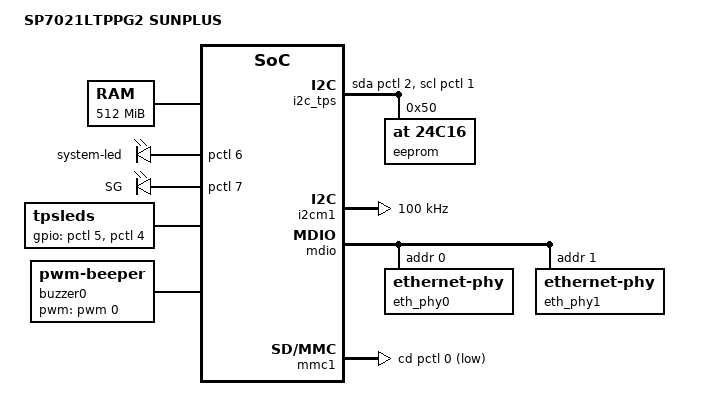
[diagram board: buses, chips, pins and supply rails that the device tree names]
// SPDX-License-Identifier: GPL-2.0
/*
 * Device Tree Source for Tibbo LTPP board G2
 *
 * Copyright (C) 2021 Sunplus Technology Co.
 */

/dts-v1/;

#include "sp7021-common.dtsi"

/ {
	model = "SP7021LTPPG2 SUNPLUS";

	chosen {
		bootargs = "console=ttyS0,115200 root=/dev/ram rw loglevel=8 user_debug=255 earlyprintk";
		stdout-path = "serial0:115200n8";
	};

	memory@0 {
		device_type = "memory";
		reg = <0x00000000 0x20000000>; /* 512MB */
	};

	led {
		compatible = "gpio-leds";
		pinctrl-names = "default", "sleep";
		pinctrl-0 = <&gpio_leds_pins>;
		pinctrl-1 = <&leds_s0_slp>;
		system-led {
			label = "system-led";
			gpios = <&pctl 6 GPIO_ACTIVE_HIGH>;
			default-state = "off";
			linux,default-trigger = "heartbeat";
		};
		led@2 {
			label = "SG";
			gpios = <&pctl 7 GPIO_ACTIVE_HIGH>;
			linux,default-trigger = "mmc0";
			default-state = "off";
		};
	};
	tpsleds: tpsleds {
		compatible = "tpsleds";
		pinctrl-names = "default";
		pinctrl-0 = <&tpsleds_pins>;
		status = "okay";
		init-val = <0x0>;
		gpios = <&pctl 5 GPIO_ACTIVE_HIGH
			  &pctl 4 GPIO_ACTIVE_HIGH
			>;
	};
	buzzer0 {
		compatible = "pwm-beeper";
		pinctrl-names = "default";
		pinctrl-0 = <&buzzer0_pins>;
		pwms = <&pwm 0 1000000 0>;
	};
	i2c_tps: i2c-tps { /* eeprom */
		compatible = "i2c-gpio";
		i2c-gpio,scl-open-drain;
		i2c-gpio,sda-open-drain;
		i2c-gpio,delay-us = <1>;	/* ~100 kHz */
		#address-cells = <1>;
		#size-cells = <0>;
		pinctrl-names = "default";
		pinctrl-0 = <&pins_i2ctps>;
		gpios = <&pctl 2 GPIO_ACTIVE_HIGH     /* SDA */
			  &pctl 1 GPIO_ACTIVE_HIGH     /* SCL */
			>;
		eeprom: eeprom@50 {
			compatible = "at,24c16";
			reg = <0x50>;
			pagesize = <16>;
		};
	};
};

&sp_display {
	ui_width = <1280>;
	ui_height = <720>;
	ui_format = <0x8>;
		/* 0x2 = 8bpp (ARGB)
		 * 0x4 = YUY2
		 * 0x8 = RGB565
		 * 0x9 = ARGB1555
		 * 0xa = RGBA4444
		 * 0xb = ARGB4444
		 * 0xd = RGBA8888
		 * 0xe = ARGB8888
		 */
};

&spi_controller0 {
	spi-cpha;
	spi-cpol;
	pinctrl-names = "default";
	pinctrl-0 = <&pins_spi0>;
	status = "disabled";
};

&spi_controller1 {
	spi-cpha;
	spi-cpol;
	status = "disabled";
};

&spi_controller2 {
	spi-cpha;
	spi-cpol;
	status = "disabled";
};

&spi_controller3 {
	spi-slave;
	status = "disabled";
};

&i2cm0 {
	clock-frequency = <100000>;
	pinctrl-names = "default";
	pinctrl-0 = <&i2cm0_pins>;
	status = "disabled";
};

&i2cm1 {
	clock-frequency = <100000>;
	pinctrl-names = "default";
	pinctrl-0 = <&i2cm1_mipicsi_tpm_pins>;
	#address-cells = <1>;
	#size-cells = <0>;
	st33htpi: st33htpi@2e {
		compatible = "st,st33htpm-i2c";
		reg = <0x2e>;
		status = "disabled";
	};
};

&i2cm2 {
	clock-frequency = <100000>;
	status = "disabled";
};

&i2cm3 {
	clock-frequency = <100000>;
	status = "disabled";
};

&uart1 {
	pinctrl-names = "default";
	pinctrl-0 = <&pins_uart1>;
	status = "disabled";
};

&uart2 {
	pinctrl-names = "default";
	pinctrl-0 = <&pins_uart2>;
	status = "disabled";
};

&uart3 {
	status = "disabled";
};

&uart4 {
	pinctrl-names = "default";
	pinctrl-0 = <&pins_btuart &pins_bt_reset>;
	status = "disabled";
};

&sdio {
	pinctrl-names = "default";
	pinctrl-0 = <&pins_sdio>;
	status = "disabled";
};

&sp_uphy0 {
	pinctrl-names = "default";
	pinctrl-0 = <&pins_vbus_usb0>;
	vbus-gpio = <&pctl 90 GPIO_ACTIVE_HIGH>;
};

&sp_uphy1 {
	pinctrl-names = "default";
	pinctrl-0 = <&pins_vbus_usb1>;
	vbus-gpio = <&pctl 91 GPIO_ACTIVE_HIGH>;
};

&l2sw {
	pinctrl-names = "default";
	pinctrl-0 = <&l2sw_demo_board_v3_pins>;
	mode = < 1 >;
		/* 0 = daisy-chain mode
		 * 1 = dual NIC mode
		 * 2 = daisy-chain mode (disable SA learning)
		 */

	phy-handle1 = <&eth_phy0>;
	phy-handle2 = <&eth_phy1>;
	mdio {
		#address-cells = <1>;
		#size-cells = <0>;
		eth_phy0: ethernet-phy@0 {
			reg = <0>;
		};
		eth_phy1: ethernet-phy@1 {
			reg = <1>;
		};
	};
};

&mmc0 {
	pinctrl-names = "default";
	pinctrl-0 = <&emmc_mux>;
};

&mmc1 {
	pinctrl-names = "default";
	pinctrl-0 = <&mmc1_mux &mmc1_mux_cd>;
	cd-gpios = <&pctl 0 GPIO_ACTIVE_LOW>;
};

&spinand0 {
	pinctrl-names = "default";
	pinctrl-0 = <&pins_spinand0>;
	status = "disabled";
};

&sp_spinor0 {
	spi-max-frequency = <50000000>;
	spi-chip-selection = <0>;
	status = "disabled";
};

&hdmitx {
	pinctrl-names = "default";
	pinctrl-0 = <&hdmi_A_tx1>;
};

&mipicsi0 {
	i2c-id = <1>;
	cam_gpio0-gpios = <&pctl 92 GPIO_ACTIVE_HIGH>;
	cam_gpio1-gpios = <&pctl 93 GPIO_ACTIVE_HIGH>;
	pinctrl-names = "default";
	pinctrl-0 = <&mipicsi0_pins>;
	status = "disabled";
};

&mipicsi1 {
	status = "disabled";
};

&rtc {
	charging-mode = <0xE>;
	/*
	 *      0xE     Disable
	 *      0x1     0.86mA (2K Ohm with diode)
	 *      0x5     1.81mA (250 Ohm with diode)
	 *      0x9     2.07mA (50 Ohm with diode)
	 *      0xD     16.0mA (0 Ohm with diode)
	 *      0x3     1.36mA (2K Ohm without diode)
	 *      0x7     3.99mA (250 Ohm without diode)
	 *      0xB     4.41mA (50 Ohm without diode)
	 *      0xF     16.0mA (0 Ohm without diode)
	 */
};

&audio {
	status = "disabled";
};

&pwm {
	pinctrl-names = "default";
	pinctrl-0 = <&pins_pwm>;
	//status = "disabled";
};

&pctl {
	pinctrl-names = "default";
	pinctrl-0 = <&pins_gpio_nobinded>;

	pins_gpio_nobinded: pinmux_gpio_nobinded-pins {
		sunplus,pins = <
			SPPCTL_IOPAD(30, SPPCTL_PCTL_G_GPIO, 0, 0)   /* was L2SW_LED_FLASH1 */
			SPPCTL_IOPAD(39, SPPCTL_PCTL_G_GPIO, 0, 0)   /* was L2SW_LED_ON1  */
		>;
	};

	i2cm0_pins: pinmux_i2cm0-pins {
		sunplus,pins = <
			/*SPPCTL_IOPAD(12, SPPCTL_PCTL_G_PMUX, MUXF_I2CM0_DAT, 0)*/
			/*SPPCTL_IOPAD(13, SPPCTL_PCTL_G_PMUX, MUXF_I2CM0_CLK, 0)*/
		>;
	};

	i2cm1_mipicsi_tpm_pins: pinmux_i2cm1_mipicsi_tpm-pins {
		sunplus,pins = <
			/*SPPCTL_IOPAD(64, SPPCTL_PCTL_G_PMUX, MUXF_I2CM1_DAT, 0)*/
			/*SPPCTL_IOPAD(61, SPPCTL_PCTL_G_PMUX, MUXF_I2CM1_CLK, 0)*/
		>;
	};

	pins_i2ctps: pinmux_i2ctps-pins {
		sunplus,pins = <
			SPPCTL_IOPAD(1, SPPCTL_PCTL_G_GPIO, 0, SPPCTL_PCTL_L_OUT | SPPCTL_PCTL_L_ONV | SPPCTL_PCTL_L_ODR)
			SPPCTL_IOPAD(2, SPPCTL_PCTL_G_GPIO, 0, SPPCTL_PCTL_L_OUT | SPPCTL_PCTL_L_ONV | SPPCTL_PCTL_L_ODR)
		>;
	};

	l2sw_demo_board_v3_pins: pinmux_l2sw_demov3-pins {
		sunplus,pins = <
			SPPCTL_IOPAD(63, SPPCTL_PCTL_G_PMUX, MUXF_L2SW_CLK_OUT, 0)
			SPPCTL_IOPAD(71, SPPCTL_PCTL_G_PMUX, MUXF_L2SW_MAC_SMI_MDC, 0)
			SPPCTL_IOPAD(64, SPPCTL_PCTL_G_PMUX, MUXF_L2SW_MAC_SMI_MDIO, 0)
			SPPCTL_IOPAD(62, SPPCTL_PCTL_G_PMUX, MUXF_L2SW_P0_MAC_RMII_TXEN, 0)
			SPPCTL_IOPAD(61, SPPCTL_PCTL_G_PMUX, MUXF_L2SW_P0_MAC_RMII_TXD0, 0)
			SPPCTL_IOPAD(60, SPPCTL_PCTL_G_PMUX, MUXF_L2SW_P0_MAC_RMII_TXD1, 0)
			SPPCTL_IOPAD(59, SPPCTL_PCTL_G_PMUX, MUXF_L2SW_P0_MAC_RMII_CRSDV, 0)
			SPPCTL_IOPAD(58, SPPCTL_PCTL_G_PMUX, MUXF_L2SW_P0_MAC_RMII_RXD0, 0)
			SPPCTL_IOPAD(57, SPPCTL_PCTL_G_PMUX, MUXF_L2SW_P0_MAC_RMII_RXD1, 0)
			SPPCTL_IOPAD(55, SPPCTL_PCTL_G_PMUX, MUXF_L2SW_P1_MAC_RMII_TXEN, 0)
			SPPCTL_IOPAD(54, SPPCTL_PCTL_G_PMUX, MUXF_L2SW_P1_MAC_RMII_TXD0, 0)
			SPPCTL_IOPAD(53, SPPCTL_PCTL_G_PMUX, MUXF_L2SW_P1_MAC_RMII_TXD1, 0)
			SPPCTL_IOPAD(52, SPPCTL_PCTL_G_PMUX, MUXF_L2SW_P1_MAC_RMII_CRSDV, 0)
			SPPCTL_IOPAD(51, SPPCTL_PCTL_G_PMUX, MUXF_L2SW_P1_MAC_RMII_RXD0, 0)
			SPPCTL_IOPAD(50, SPPCTL_PCTL_G_PMUX, MUXF_L2SW_P1_MAC_RMII_RXD1, 0)
		>;
		sunplus,zerofunc = <
			MUXF_L2SW_LED_FLASH0
			MUXF_L2SW_LED_ON0
			MUXF_L2SW_LED_FLASH1
			MUXF_L2SW_LED_ON1
			MUXF_DAISY_MODE
			MUXF_L2SW_P0_MAC_RMII_RXER
			MUXF_L2SW_P1_MAC_RMII_RXER
			GROP_SPI_FLASH
		>;
	};

	// AP6256 WiFi
	pins_sdio: pinmux_sdio-pins {
		sunplus,pins = <
			SPPCTL_IOPAD(44, SPPCTL_PCTL_G_PMUX, MUXF_SDIO_D1, 0)
			SPPCTL_IOPAD(45, SPPCTL_PCTL_G_PMUX, MUXF_SDIO_D0, 0)
			SPPCTL_IOPAD(46, SPPCTL_PCTL_G_PMUX, MUXF_SDIO_CLK, 0)
			SPPCTL_IOPAD(47, SPPCTL_PCTL_G_PMUX, MUXF_SDIO_CMD, 0)
			SPPCTL_IOPAD(42, SPPCTL_PCTL_G_PMUX, MUXF_SDIO_D3, 0)
			SPPCTL_IOPAD(43, SPPCTL_PCTL_G_PMUX, MUXF_SDIO_D2, 0)
		>;
	};

	pins_sdio_reset: pinmux_sdio_reset-pins {
		sunplus,pins = <
			/* additional reset pin for BRCM */
			SPPCTL_IOPAD(83, SPPCTL_PCTL_G_GPIO, 0, SPPCTL_PCTL_L_OU1)
		>;
	};

	pins_vbus_usb0: pinmux_vbus_usb0-pins {
		sunplus,pins = < SPPCTL_IOPAD(90, SPPCTL_PCTL_G_GPIO, 0, SPPCTL_PCTL_L_OUT) >;
	};
	pins_vbus_usb1: pinmux_vbus_usb1-pins {
		sunplus,pins = < SPPCTL_IOPAD(91, SPPCTL_PCTL_G_GPIO, 0, SPPCTL_PCTL_L_OUT) >;
	};

	mmc1_mux_cd: pinmux_mmc1_cd-pins {
		sunplus,pins = < SPPCTL_IOPAD(0, SPPCTL_PCTL_G_GPIO, 0, 0) >;
	};

	mipicsi0_pins: pinmux_mipicsi0-pins {
		sunplus,pins = <
			/*SPPCTL_IOPAD(92, SPPCTL_PCTL_G_GPIO, 0, SPPCTL_PCTL_L_OU1)*/
			/*SPPCTL_IOPAD(93, SPPCTL_PCTL_G_GPIO, 0, SPPCTL_PCTL_L_OU1)*/
		>;
	};

	gpio_leds_pins: pinmux_gpio_leds-pins {
		sunplus,pins = < SPPCTL_IOPAD(6, SPPCTL_PCTL_G_GPIO, 0, SPPCTL_PCTL_L_OUT) >;
	};

	leds_s0_slp: pinmux_user_leds_s0_slp-pins {
		sunplus,pins = < SPPCTL_IOPAD(7, SPPCTL_PCTL_G_GPIO, 0, 0) >;
	};

	tpsleds_pins: pinmux_user_tpsleds-pins {
		sunplus,pins = <
			SPPCTL_IOPAD(4, SPPCTL_PCTL_G_GPIO, 0, 0)
			SPPCTL_IOPAD(5, SPPCTL_PCTL_G_GPIO, 0, 0)
		>;
	};

	buzzer0_pins: pinmux_user_buzzer0-pins {
		sunplus,pins = < SPPCTL_IOPAD(48, SPPCTL_PCTL_G_PMUX, MUXF_PWM0, 0) >;
	};

	pins_uart1: pinmux_uart1-pins {
		sunplus,pins = <
			SPPCTL_IOPAD(8, SPPCTL_PCTL_G_PMUX, MUXF_UA1_TX, 0)
			SPPCTL_IOPAD(9, SPPCTL_PCTL_G_PMUX, MUXF_UA1_RX, 0)
			SPPCTL_IOPAD(10, SPPCTL_PCTL_G_PMUX, MUXF_UA1_RTS, 0)
			SPPCTL_IOPAD(11, SPPCTL_PCTL_G_PMUX, MUXF_UA1_CTS, 0)
		>;
	};

	pins_uart2: pinmux_uart2-pins {
		sunplus,pins = <
			SPPCTL_IOPAD(12, SPPCTL_PCTL_G_PMUX, MUXF_UA2_TX, 0)
			SPPCTL_IOPAD(13, SPPCTL_PCTL_G_PMUX, MUXF_UA2_RX, 0)
			SPPCTL_IOPAD(14, SPPCTL_PCTL_G_PMUX, MUXF_UA2_RTS, 0)
			SPPCTL_IOPAD(15, SPPCTL_PCTL_G_PMUX, MUXF_UA2_CTS, 0)
		>;
	};

	pins_uart3: pinmux_uart3-pins {
		sunplus,pins = <
			SPPCTL_IOPAD(16, SPPCTL_PCTL_G_PMUX, MUXF_UA3_TX, 0)
			SPPCTL_IOPAD(17, SPPCTL_PCTL_G_PMUX, MUXF_UA3_RX, 0)
			SPPCTL_IOPAD(18, SPPCTL_PCTL_G_PMUX, MUXF_UA3_RTS, 0)
			SPPCTL_IOPAD(19, SPPCTL_PCTL_G_PMUX, MUXF_UA3_CTS, 0)
		>;
	};

	// AP6256 Bluetooth
	pins_uart4: pinmux_uart4-pins {
		sunplus,pins = <
			SPPCTL_IOPAD(20, SPPCTL_PCTL_G_PMUX, MUXF_UA4_TX, 0)
			SPPCTL_IOPAD(21, SPPCTL_PCTL_G_PMUX, MUXF_UA4_RX, 0)
			SPPCTL_IOPAD(22, SPPCTL_PCTL_G_PMUX, MUXF_UA4_RTS, 0)
			SPPCTL_IOPAD(23, SPPCTL_PCTL_G_PMUX, MUXF_UA4_CTS, 0)
		>;
	};

	pins_btuart: pinmux_btuart-pins {
		sunplus,pins = <
			SPPCTL_IOPAD(40, SPPCTL_PCTL_G_PMUX, MUXF_UA4_RX, 0)
			SPPCTL_IOPAD(41, SPPCTL_PCTL_G_PMUX, MUXF_UA4_TX, 0)
			SPPCTL_IOPAD(56, SPPCTL_PCTL_G_PMUX, MUXF_UA4_RTS, SPPCTL_PCTL_L_ONV)
			SPPCTL_IOPAD(49, SPPCTL_PCTL_G_PMUX, MUXF_UA4_CTS, 0)
		>;
	};

	pins_bt_reset: pinmux_bt_reset-pins {
		sunplus,pins = < SPPCTL_IOPAD(82, SPPCTL_PCTL_G_GPIO, 0, 0) >;
	};

	pins_spi0: pinmux_spi0-pins {
		sunplus,pins = <
			/*SPPCTL_IOPAD(26, SPPCTL_PCTL_G_PMUX, MUXF_SPI0S_EN, 0) */
			/*SPPCTL_IOPAD(23, SPPCTL_PCTL_G_PMUX, MUXF_SPI0S_DO, 0) */
			/*SPPCTL_IOPAD(25, SPPCTL_PCTL_G_PMUX, MUXF_SPI0S_DI, 0) */
			/*SPPCTL_IOPAD(27, SPPCTL_PCTL_G_PMUX, MUXF_SPI0S_CLK, 0) */
		>;
	};

	pins_pwm: pinmux_pwm-pins {
		sunplus,pins = <
			/*SPPCTL_IOPAD(36, SPPCTL_PCTL_G_PMUX, MUXF_PWM0, 0)*/
			/*SPPCTL_IOPAD(37, SPPCTL_PCTL_G_PMUX, MUXF_PWM1, 0)*/
			/*SPPCTL_IOPAD(38, SPPCTL_PCTL_G_PMUX, MUXF_PWM2, 0)*/
			/*SPPCTL_IOPAD(39, SPPCTL_PCTL_G_PMUX, MUXF_PWM3, 0)*/
		>;
	};
};
